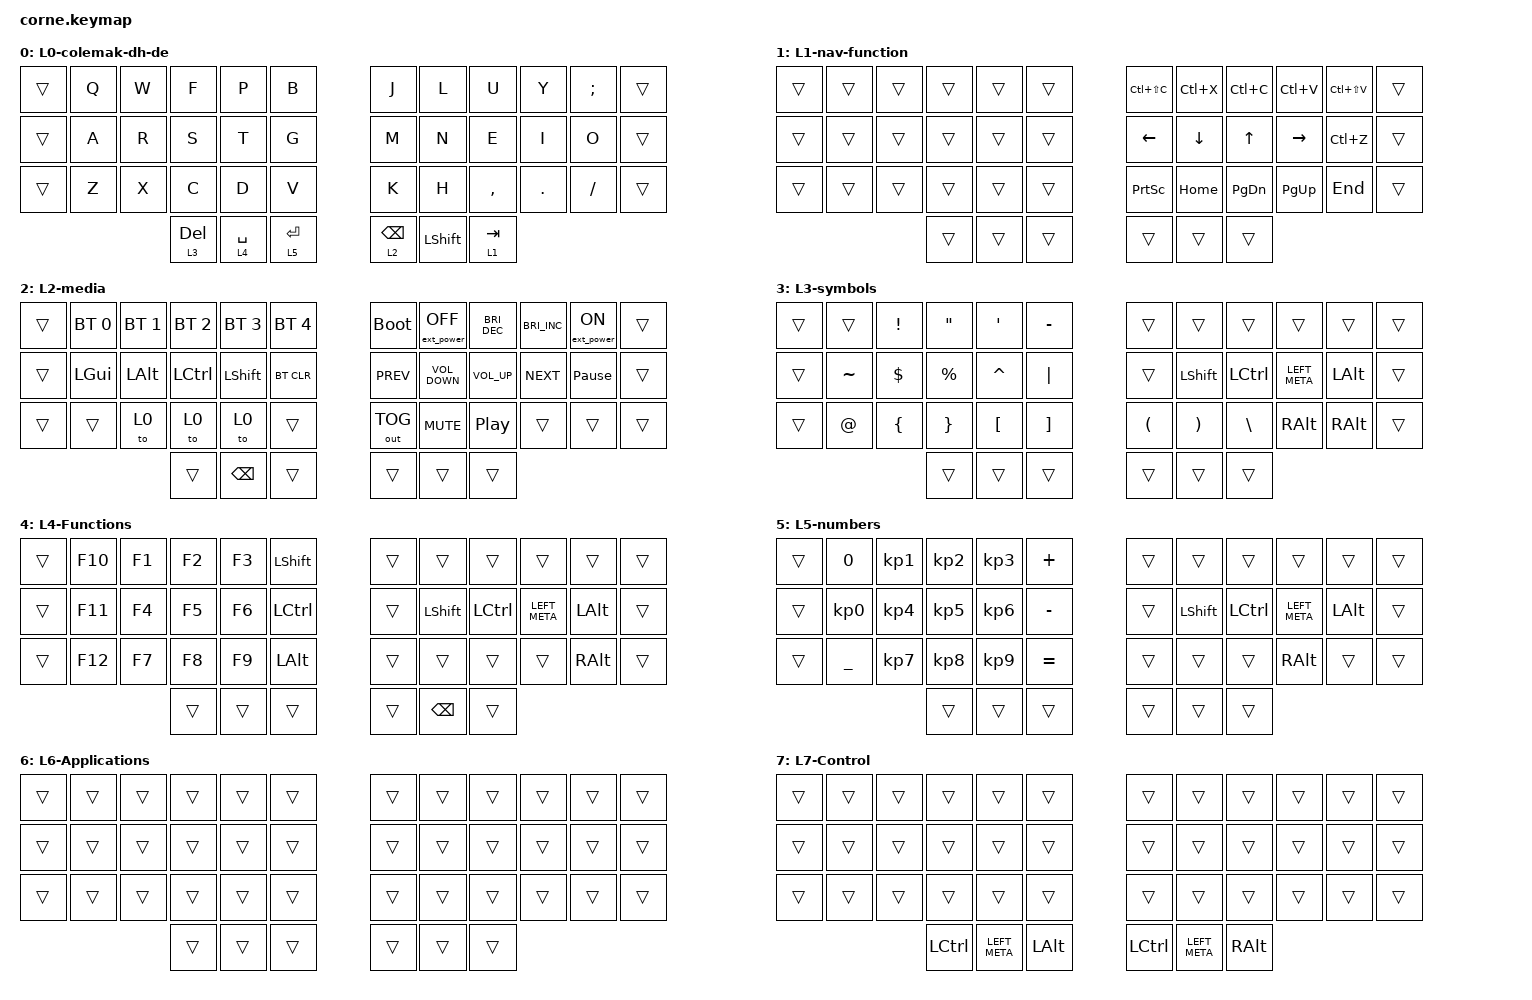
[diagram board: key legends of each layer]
#include <dt-bindings/zmk/mouse.h>
#include <behaviors.dtsi>
#include <dt-bindings/zmk/bt.h>
#include <dt-bindings/zmk/ext_power.h>
#include <dt-bindings/zmk/keys.h>
#include <dt-bindings/zmk/outputs.h>

// Layer Definitions

#define COLEMAK 0
#define QWERTY 1
#define GAMING_COLEMAK 2
#define GAMING_QWERTY 3
#define LAYERS 4
#define NAV 5
#define MOUSE 6
#define MEDIA 7
#define NUM 8
#define SYM 9
#define FN 10

&mt {
    tapping-term-ms = <200>;
    quick_tap_ms = <0>;
    flavor = "tap-preferred";
};

&lt {
    tapping-term-ms = <200>;
    quick_tap_ms = <0>;
    flavor = "tap-preferred";
};

&sk {
    release-after-ms = <500>;
    quick-release;
};

// Keymap configuration (Colemak-DHm)

/ {
    combos {
        compatible = "zmk,combos";

        Escape {
            bindings = <&kp ESC>;
            key-positions = <16 15 14>;
        };

        Control_Combo {
            bindings = <&kp LEFT_CONTROL>;
            key-positions = <39 38>;
        };

        Super_Combo {
            bindings = <&kp LEFT_WIN>;
            key-positions = <40 38>;
        };

        ALT_COMBO {
            bindings = <&kp LEFT_ALT>;
            key-positions = <41 38>;
        };

        ComboAffengriff {
            bindings = <&kp LC(LA(DELETE))>;
            key-positions = <14 15 16 19 20 21>;
        };

        copy {
            bindings = <&kp LC(C)>;
            key-positions = <37 27>;
        };

        paste {
            bindings = <&kp LC(V)>;
            key-positions = <37 29>;
        };

        cut {
            bindings = <&kp LC(X)>;
            key-positions = <26 37>;
        };

        undo {
            bindings = <&kp LC(Z)>;
            key-positions = <25 37>;
        };

        shift-copy {
            bindings = <&kp LC(LS(C))>;
            key-positions = <36 27>;
        };

        shift-paste {
            bindings = <&kp LC(LS(V))>;
            key-positions = <36 29>;
        };

        control-layer {
            bindings = <&to 7>;
            key-positions = <36 37>;
        };

        to-layer-0 {
            bindings = <&to 0>;
            key-positions = <3 2 4>;
        };
    };

    keymap {
        compatible = "zmk,keymap";

        L0-colemak-dh-de {
            // -----------------------------------------------------------------------------------------------------------------------------
            // |        |   Q    |   W    |     F     |     P     |     B     | # |     J     |    L     |    U    |    Y   |   '    |     |
            // | LAYERS | A/LGUI | R/LALT |  S/LCTRL  |  T/LSHFT  |     G     | # |     M     | N/LSHFT  | E/LCTRL | I/LALT | O/LGUI |     |
            // |        |   Z    | X/RALT |     C     |     D     |     V     | # |     K     |    H     |    ,    | ./RALT |   /    |     |
            //                            | ESC/MEDIA | SPACE/NAV | TAB/MOUSE | # | ENTER/SYM | BSPC/NUM | DEL/FN  |

            bindings = <
&trans  &kp Q  &kp W  &kp F         &kp P        &kp B          &kp J            &kp L           &kp U      &kp Y       &kp SEMICOLON  &trans
&trans  &kp A  &kp R  &kp S         &kp T        &kp G          &kp M            &kp N           &kp E      &kp I       &kp O          &trans
&trans  &kp Z  &kp X  &kp C         &kp D        &kp V          &kp K            &kp H           &kp COMMA  &kp PERIOD  &kp FSLH       &trans
                      &lt 3 DELETE  &lt 4 SPACE  &lt 5 ENTER    &lt 2 BACKSPACE  &kp LEFT_SHIFT  &lt 1 TAB
            >;
        };

        L1-nav-function {
            // -------------------------------------------------------------------------------------------
            // |     |      |      |       |       |     | # | REDO  | CUT  | COPY | PASTE | UNDO  |     |
            // |     | LGUI | LALT | LCTRL | LSHFT |     | # | CAPS  | LEFT | DOWN | UP    | RIGHT |     |
            // |     |      | RALT |       |       |     | # | INS   | HOME | PGDN | PGUP  | END   |     |
            //                     |       | HELD  |     | # | ENTER | BSPC | DEL  |

            bindings = <
&trans  &trans  &trans  &trans  &trans  &trans    &kp LC(LS(C))    &kp LC(X)  &kp LC(C)     &kp LC(V)  &kp LC(LS(V))  &trans
&trans  &trans  &trans  &trans  &trans  &trans    &kp LEFT         &kp DOWN   &kp UP_ARROW  &kp RIGHT  &kp LC(Z)      &trans
&trans  &trans  &trans  &trans  &trans  &trans    &kp PRINTSCREEN  &kp HOME   &kp PG_DN     &kp PG_UP  &kp END        &trans
                        &trans  &trans  &trans    &trans           &trans     &trans
            >;
        };

        L2-media {
            // -----------------------------------------------------------------------------------------------------
            // |     |      |      |       |       |      | # | BOOTLOAD | EP_OFF | BR_D   | BR_U   | EP_ON  |     |
            // |     | LGUI | LALT | LCTRL | LSHFT |      | # | RESET    | PREV   | VOL_D  | VOL_U  | NEXT   |     |
            // |     |      | RALT |       |       |      | # | OUT_BLE  | BT_0   | BT_PRV | BT_NXT | BT_CLR |     |
            //                     | HELD  |       |      | # | STOP     | PLAY   | MUTE   |

            bindings = <
&trans  &bt BT_SEL 0  &bt BT_SEL 1  &bt BT_SEL 2  &bt BT_SEL 3   &bt BT_SEL 4    &bootloader   &ext_power EP_OFF  &kp C_BRIGHTNESS_DEC  &kp C_BRIGHTNESS_INC  &ext_power EP_ON  &trans
&trans  &kp LGUI      &kp LALT      &kp LCTRL     &kp LSHFT      &bt BT_CLR      &kp C_PREV    &kp C_VOLUME_DOWN  &kp C_VOLUME_UP       &kp C_NEXT            &kp PAUSE_BREAK   &trans
&trans  &trans        &to 0         &to 0         &to 0          &trans          &out OUT_TOG  &kp K_MUTE         &kp C_PLAY_PAUSE      &trans                &trans            &trans
                                    &trans        &kp BACKSPACE  &trans          &trans        &trans             &trans
            >;
        };

        L3-symbols {
            // ------------------------------------------------------------------------------------
            // |     |  {  |  &  |  *  |  (  |  }  | # |      |       |       |      |      |     |
            // |     |  :  |  $  |  %  |  ^  |  +  | # |      | LSHFT | LCTRL | LALT | LGUI |     |
            // |     |  ~  |  !  |  @  |  #  |  |  | # |      |       |       | RALT |      |     |
            //                   |  (  |  )  |  _  | # | HELD |       |       |

            bindings = <
&trans  &trans       &kp EXCLAMATION  &kp DOUBLE_QUOTES  &kp SQT           &kp MINUS            &trans                &trans                 &trans         &trans         &trans         &trans
&trans  &kp TILDE    &kp DLLR         &kp PRCNT          &kp CARET         &kp PIPE             &trans                &kp LSHFT              &kp LCTRL      &kp LEFT_META  &kp LEFT_ALT   &trans
&trans  &kp AT_SIGN  &kp LEFT_BRACE   &kp RIGHT_BRACE    &kp LEFT_BRACKET  &kp RIGHT_BRACKET    &kp LEFT_PARENTHESIS  &kp RIGHT_PARENTHESIS  &kp BACKSLASH  &kp RALT       &kp RIGHT_ALT  &trans
                                      &trans             &trans            &trans               &trans                &trans                 &trans
            >;
        };

        L4-Functions {
            bindings = <
&trans  &kp F10  &kp F1  &kp F2  &kp F3  &kp LSHFT    &trans  &trans          &trans            &trans         &trans         &trans
&trans  &kp F11  &kp F4  &kp F5  &kp F6  &kp LCTRL    &trans  &kp LEFT_SHIFT  &kp LEFT_CONTROL  &kp LEFT_META  &kp LEFT_ALT   &trans
&trans  &kp F12  &kp F7  &kp F8  &kp F9  &kp LALT     &trans  &trans          &trans            &trans         &kp RIGHT_ALT  &trans
                         &trans  &trans  &trans       &trans  &kp BACKSPACE   &trans
            >;
        };

        L5-numbers {
            // -----------------------------------------------------------------------------------
            // |     |  [  |  7  |  8  |  9  |  ]  | # |     |       |       |      |      |     |
            // |     |  ;  |  4  |  5  |  6  |  =  | # |     | LSHFT | LCTRL | LALT | LGUI |     |
            // |     |  `  |  1  |  2  |  3  |  \  | # |     |       |       | RALT |      |     |
            //                   |  .  |  0  |  -  | # |     | HELD  |       |

            bindings = <
&trans  &kp N0           &kp KP_NUMBER_1  &kp KP_NUMBER_2  &kp KP_NUMBER_3  &kp PLUS     &trans  &trans     &trans     &trans         &trans        &trans
&trans  &kp KP_NUMBER_0  &kp KP_NUMBER_4  &kp KP_NUMBER_5  &kp KP_NUMBER_6  &kp MINUS    &trans  &kp LSHFT  &kp LCTRL  &kp LEFT_META  &kp LEFT_ALT  &trans
&trans  &kp UNDER        &kp KP_NUMBER_7  &kp KP_NUMBER_8  &kp KP_NUMBER_9  &kp EQUAL    &trans  &trans     &trans     &kp RALT       &trans        &trans
                                          &trans           &trans           &trans       &trans  &trans     &trans
            >;
        };

        L6-Applications {
            bindings = <
&trans  &trans  &trans  &trans  &trans  &trans    &trans  &trans  &trans  &trans  &trans  &trans
&trans  &trans  &trans  &trans  &trans  &trans    &trans  &trans  &trans  &trans  &trans  &trans
&trans  &trans  &trans  &trans  &trans  &trans    &trans  &trans  &trans  &trans  &trans  &trans
                        &trans  &trans  &trans    &trans  &trans  &trans
            >;
        };

        L7-Control {
            bindings = <
&trans  &trans  &trans  &trans            &trans         &trans          &trans            &trans         &trans         &trans  &trans  &trans
&trans  &trans  &trans  &trans            &trans         &trans          &trans            &trans         &trans         &trans  &trans  &trans
&trans  &trans  &trans  &trans            &trans         &trans          &trans            &trans         &trans         &trans  &trans  &trans
                        &kp LEFT_CONTROL  &kp LEFT_META  &kp LEFT_ALT    &kp LEFT_CONTROL  &kp LEFT_META  &kp RIGHT_ALT
            >;
        };
    };
};
